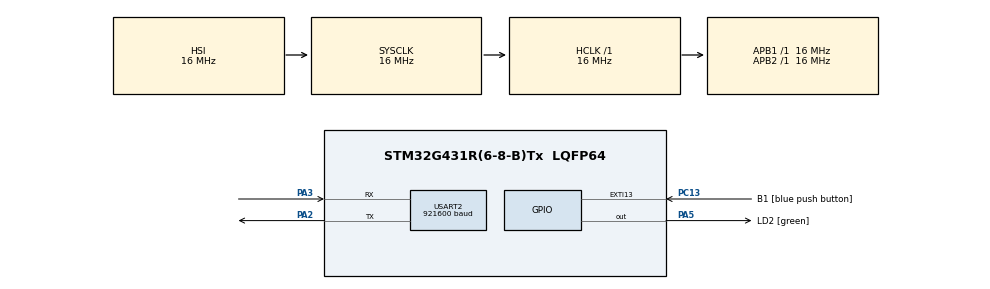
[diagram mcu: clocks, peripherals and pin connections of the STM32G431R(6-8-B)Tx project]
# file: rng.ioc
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Mcu.Family=STM32G4
Mcu.Name=STM32G431R(6-8-B)Tx
Mcu.Package=LQFP64
NVIC.PriorityGroup=NVIC_PRIORITYGROUP_4
PA13.GPIO_Label=T_SWDIO
PA13.Signal=SYS_JTMS-SWDIO
PA14.GPIO_Label=T_SWCLK
PA14.Signal=SYS_JTCK-SWCLK
PA2.Mode=Asynchronous
PA2.Signal=USART2_TX
PA3.Mode=Asynchronous
PA3.Signal=USART2_RX
PA5.GPIO_Label=LD2 [green]
PA5.Signal=GPIO_Output
PB3.GPIO_Label=T_SWO
PB3.Signal=SYS_JTDO-SWO
PC13.GPIO_Label=B1 [blue push button]
PC13.Signal=GPXTI13
PC14-OSC32_IN.GPIO_Label=RCC_OSC32_OUT
PC14-OSC32_IN.Signal=RCC_OSC32_IN
PC15-OSC32_OUT.GPIO_Label=RCC_OSC32_OUT
PC15-OSC32_OUT.Signal=RCC_OSC32_OUT
PF0-OSC_IN.GPIO_Label=RCC_OSC_IN
PF0-OSC_IN.Signal=RCC_OSC_IN
PF1-OSC_OUT.GPIO_Label=RCC_OSC_OUT
PF1-OSC_OUT.Signal=RCC_OSC_OUT
ProjectManager.HeapSize=0x200
ProjectManager.StackSize=0x400
ProjectManager.TargetToolchain=STM32CubeIDE
RCC.ADC12Freq_Value=16000000
RCC.AHBFreq_Value=16000000
RCC.APB1Freq_Value=16000000
RCC.APB1TimFreq_Value=16000000
RCC.APB2Freq_Value=16000000
RCC.APB2TimFreq_Value=16000000
RCC.CortexFreq_Value=16000000
RCC.EXTERNAL_CLOCK_VALUE=12288000
RCC.HCLKFreq_Value=16000000
RCC.HSE_VALUE=24000000
RCC.HSI48_VALUE=48000000
RCC.HSI_VALUE=16000000
RCC.LSE_VALUE=32768
RCC.PLLM=RCC_PLLM_DIV4
RCC.PLLN=85
RCC.RTCClockSelection=RCC_RTCCLKSOURCE_LSE
RCC.SYSCLKFreq_VALUE=16000000
RCC.USBFreq_Value=170000000
RCC.VCOOutputFreq_Value=340000000
USART2.BaudRate=921600
USART2.VirtualMode-Asynchronous=VM_ASYNC
VP_SYS_VS_DBSignals.Mode=DisableDeadBatterySignals
board=NUCLEO-G431RB

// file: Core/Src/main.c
/* USER CODE BEGIN Header */
/**
  ******************************************************************************
  * @file           : main.c
  * @brief          : Main program body
  ******************************************************************************
  * @attention
  *
  * Copyright (c) 2025 STMicroelectronics.
  * All rights reserved.
  *
  * This software is licensed under terms that can be found in the LICENSE file
  * in the root directory of this software component.
  * If no LICENSE file comes with this software, it is provided AS-IS.
  *
  ******************************************************************************
  */
/* USER CODE END Header */
#include "main.h"

/* USER CODE BEGIN Includes */
#include <stdio.h>
#include "rng.h"

/* USER CODE END Includes */

UART_HandleTypeDef huart2;

void SystemClock_Config(void);
static void MX_GPIO_Init(void);
static void MX_USART2_UART_Init(void);

/* USER CODE BEGIN 0 */

// Send printf to uart2
int _write(int fd, char *ptr, int len) {
	HAL_StatusTypeDef hstatus;

	if(fd == 1 || fd == 2) {
		hstatus = HAL_UART_Transmit(&huart2, (uint8_t*) ptr, len, HAL_MAX_DELAY);
		if(hstatus == HAL_OK) {
			return len;
		}
		else {
			return -1;
		}
	}
	return -1;
}

/* USER CODE END 0 */

int main(void)
{

  /* MCU Configuration--------------------------------------------------------*/

  /* Reset of all peripherals, Initializes the Flash interface and the Systick. */
  HAL_Init();

  /* Configure the system clock */
  SystemClock_Config();

  /* Initialize all configured peripherals */
  MX_GPIO_Init();
  MX_USART2_UART_Init();
  /* USER CODE BEGIN 2 */

  printf("\n\rStarting Random Number Generator\n");

  rng_init();

  /* USER CODE END 2 */

  /* Infinite loop */
  /* USER CODE BEGIN WHILE */

  uint32_t now = 0, next_tick = 1000;

  while (1)
  {
	  now = uwTick;

	  if(now >= next_tick) {
		  printf("Tick %lu\n\r", now / 1000);

		  next_tick = now + 1000;
	  }

    /* USER CODE END WHILE */

  }
}

void SystemClock_Config(void)
{
  RCC_OscInitTypeDef RCC_OscInitStruct = {0};
  RCC_ClkInitTypeDef RCC_ClkInitStruct = {0};

  /** Configure the main internal regulator output voltage
  */
  HAL_PWREx_ControlVoltageScaling(PWR_REGULATOR_VOLTAGE_SCALE1);

  /** Initializes the RCC Oscillators according to the specified parameters
  * in the RCC_OscInitTypeDef structure.
  */
  RCC_OscInitStruct.OscillatorType = RCC_OSCILLATORTYPE_HSI;
  RCC_OscInitStruct.HSIState = RCC_HSI_ON;
  RCC_OscInitStruct.HSICalibrationValue = RCC_HSICALIBRATION_DEFAULT;
  RCC_OscInitStruct.PLL.PLLState = RCC_PLL_NONE;
  if (HAL_RCC_OscConfig(&RCC_OscInitStruct) != HAL_OK)
  {
    Error_Handler();
  }

  /** Initializes the CPU, AHB and APB buses clocks
  */
  RCC_ClkInitStruct.ClockType = RCC_CLOCKTYPE_HCLK|RCC_CLOCKTYPE_SYSCLK
                              |RCC_CLOCKTYPE_PCLK1|RCC_CLOCKTYPE_PCLK2;
  RCC_ClkInitStruct.SYSCLKSource = RCC_SYSCLKSOURCE_HSI;
  RCC_ClkInitStruct.AHBCLKDivider = RCC_SYSCLK_DIV1;
  RCC_ClkInitStruct.APB1CLKDivider = RCC_HCLK_DIV1;
  RCC_ClkInitStruct.APB2CLKDivider = RCC_HCLK_DIV1;

  if (HAL_RCC_ClockConfig(&RCC_ClkInitStruct, FLASH_LATENCY_0) != HAL_OK)
  {
    Error_Handler();
  }
}

static void MX_USART2_UART_Init(void)
{

  huart2.Instance = USART2;
  huart2.Init.BaudRate = 921600;
  huart2.Init.WordLength = UART_WORDLENGTH_8B;
  huart2.Init.StopBits = UART_STOPBITS_1;
  huart2.Init.Parity = UART_PARITY_NONE;
  huart2.Init.Mode = UART_MODE_TX_RX;
  huart2.Init.HwFlowCtl = UART_HWCONTROL_NONE;
  huart2.Init.OverSampling = UART_OVERSAMPLING_16;
  huart2.Init.OneBitSampling = UART_ONE_BIT_SAMPLE_DISABLE;
  huart2.Init.ClockPrescaler = UART_PRESCALER_DIV1;
  huart2.AdvancedInit.AdvFeatureInit = UART_ADVFEATURE_NO_INIT;
  if (HAL_UART_Init(&huart2) != HAL_OK)
  {
    Error_Handler();
  }
  if (HAL_UARTEx_SetTxFifoThreshold(&huart2, UART_TXFIFO_THRESHOLD_1_8) != HAL_OK)
  {
    Error_Handler();
  }
  if (HAL_UARTEx_SetRxFifoThreshold(&huart2, UART_RXFIFO_THRESHOLD_1_8) != HAL_OK)
  {
    Error_Handler();
  }
  if (HAL_UARTEx_DisableFifoMode(&huart2) != HAL_OK)
  {
    Error_Handler();
  }

}

static void MX_GPIO_Init(void)
{
  GPIO_InitTypeDef GPIO_InitStruct = {0};

  /* GPIO Ports Clock Enable */
  __HAL_RCC_GPIOC_CLK_ENABLE();
  __HAL_RCC_GPIOF_CLK_ENABLE();
  __HAL_RCC_GPIOA_CLK_ENABLE();
  __HAL_RCC_GPIOB_CLK_ENABLE();

  /*Configure GPIO pin Output Level */
  HAL_GPIO_WritePin(LD2_GPIO_Port, LD2_Pin, GPIO_PIN_RESET);

  /*Configure GPIO pin : B1_Pin */
  GPIO_InitStruct.Pin = B1_Pin;
  GPIO_InitStruct.Mode = GPIO_MODE_IT_RISING;
  GPIO_InitStruct.Pull = GPIO_NOPULL;
  HAL_GPIO_Init(B1_GPIO_Port, &GPIO_InitStruct);

  /*Configure GPIO pin : LD2_Pin */
  GPIO_InitStruct.Pin = LD2_Pin;
  GPIO_InitStruct.Mode = GPIO_MODE_OUTPUT_PP;
  GPIO_InitStruct.Pull = GPIO_NOPULL;
  GPIO_InitStruct.Speed = GPIO_SPEED_FREQ_LOW;
  HAL_GPIO_Init(LD2_GPIO_Port, &GPIO_InitStruct);

}

void Error_Handler(void)
{
  __disable_irq();
  while (1)
  {
  }
}
